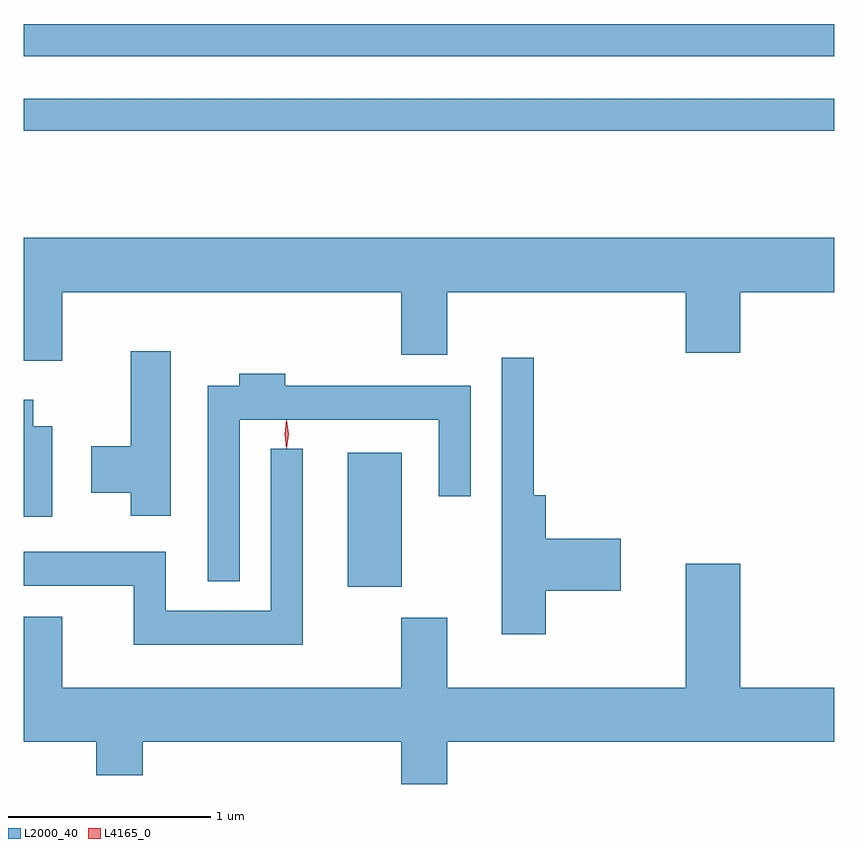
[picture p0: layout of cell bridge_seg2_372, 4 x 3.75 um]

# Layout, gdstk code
import gdstk
lib = gdstk.Library(unit=1e-6, precision=1e-09)
def R(c, l, rs):  # rectangles x0, y0, x1, y1
    for r in rs: c.add(gdstk.rectangle(r[:2], r[2:], *l))
def P(c, l, *ps):  # polygons
    for p in ps: c.add(gdstk.Polygon(p, *l))
L2000_40 = (2000, 40)
L4165_0 = (4165, 0)

bridge_seg2_372 = lib.new_cell('bridge_seg2_372')
R(bridge_seg2_372, L2000_40, [(632.986,1013.561,633.254,1014.224), (631.388,1015.811,635.388,1015.969), (631.388,1016.181,635.388,1016.339)])
P(bridge_seg2_372, L2000_40, [(631.579,1015.016),(633.251,1015.016),(633.251,1014.706),(633.479,1014.706),(633.479,1015.016),(634.656,1015.016),(634.656,1014.716),(634.924,1014.716),(634.924,1015.016),(635.388,1015.016),(635.388,1015.284),(631.388,1015.284),(631.388,1014.676),(631.579,1014.676)],
  [(632.114,1014.724),(631.916,1014.724),(631.916,1014.254),(631.721,1014.254),(631.721,1014.026),(631.916,1014.026),(631.916,1013.911),(632.114,1013.911)],
  [(633.964,1013.541),(634.334,1013.541),(634.334,1013.799),(633.964,1013.799),(633.964,1014.014),(633.904,1014.014),(633.904,1014.693),(633.746,1014.693),(633.746,1013.326),(633.964,1013.326)],
  [(632.454,1014.386),(633.436,1014.386),(633.436,1014.008),(633.594,1014.008),(633.594,1014.554),(632.679,1014.554),(632.679,1014.614),(632.451,1014.614),(632.451,1014.554),(632.296,1014.554),(632.296,1013.588),(632.454,1013.588)],
  [(631.529,1014.354),(631.434,1014.354),(631.434,1014.484),(631.388,1014.484),(631.388,1013.906),(631.529,1013.906)],
  [(632.764,1014.243),(632.606,1014.243),(632.606,1013.444),(632.089,1013.444),(632.089,1013.734),(631.388,1013.734),(631.388,1013.566),(631.931,1013.566),(631.931,1013.276),(632.764,1013.276)],
  [(633.479,1012.796),(635.388,1012.796),(635.388,1013.064),(634.924,1013.064),(634.924,1013.674),(634.656,1013.674),(634.656,1013.064),(633.479,1013.064),(633.479,1013.409),(633.251,1013.409),(633.251,1013.064),(631.579,1013.064),(631.579,1013.414),(631.388,1013.414),(631.388,1012.796),(631.746,1012.796),(631.746,1012.631),(631.974,1012.631),(631.974,1012.796),(633.251,1012.796),(633.251,1012.588),(633.479,1012.588)])
P(bridge_seg2_372, L4165_0, [(632.684,1014.244),(632.675,1014.313),(632.684,1014.383),(632.685,1014.383),(632.686,1014.383),(632.695,1014.313),(632.686,1014.244),(632.685,1014.244)],
  [(632.685,1014.247),(632.684,1014.248),(632.675,1014.314),(632.684,1014.38),(632.685,1014.381),(632.686,1014.38),(632.695,1014.314),(632.686,1014.248)])

lib.write_gds('bridge_seg2_372.gds')
